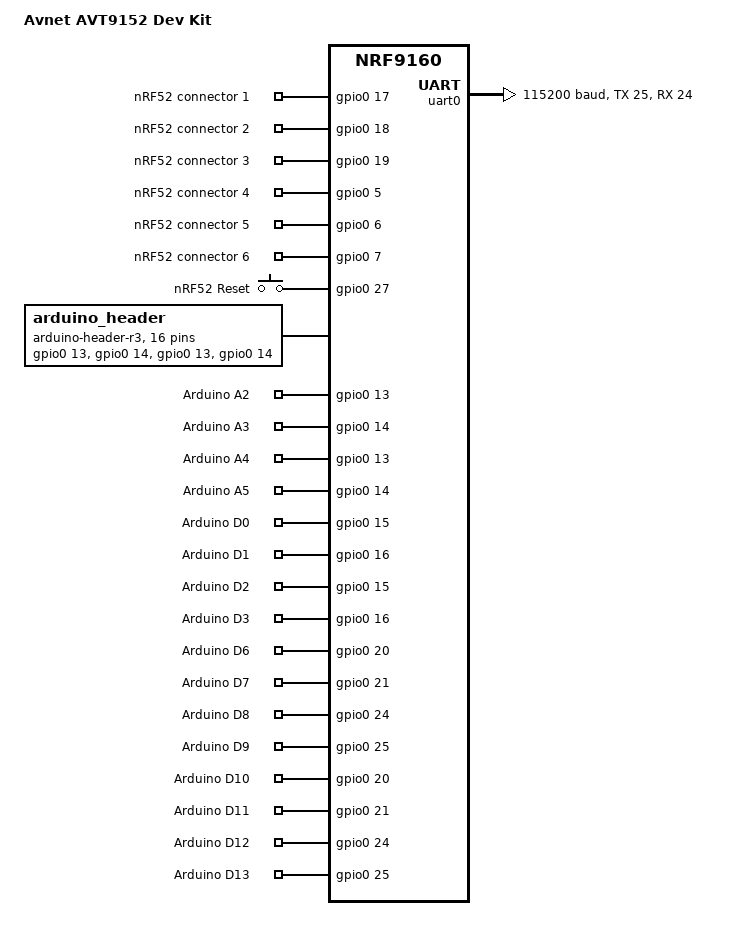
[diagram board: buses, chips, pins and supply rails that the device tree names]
/*
 * Copyright (c) 2018-2020 Nordic Semiconductor ASA
 *
 * SPDX-License-Identifier: Apache-2.0
 */

/ {
	model = "Avnet AVT9152 Dev Kit";
	compatible = "avnet,nrf9160-avt9152";

	chosen {
		zephyr,console = &uart0;
		zephyr,shell-uart = &uart0;
		zephyr,uart-mcumgr = &uart0;
	};
	
	inter_conns {
		compatible = "gpio-keys";
		inter_conn0: inter_conn_0  {
			gpios = <&gpio0 17 0>;
			label = "nRF52 connector 1";
		};
		inter_conn1: inter_conn_1 {
			gpios = <&gpio0 18 0>;
			label = "nRF52 connector 2";
		};
		inter_conn2: inter_conn_2 {
			gpios = <&gpio0 19 0>;
			label = "nRF52 connector 3";
		};
		inter_conn3: inter_conn_3 {
			gpios = <&gpio0 5 0>;
			label = "nRF52 connector 4";
		};
		inter_conn4: inter_conn_4 {
			gpios = <&gpio0 6 0>;
			label = "nRF52 connector 5";
		};
		inter_conn5: inter_conn_5 {
			gpios = <&gpio0 7 0>;
			label = "nRF52 connector 6";
		};
		inter_conn6: inter_conn_6 {
			gpios = <&gpio0 27 0>;
			label = "nRF52 Reset";
		};
		
	};

	arduino_header: connector {
		compatible = "arduino-header-r3";
		#gpio-cells = <2>;
		gpio-map-mask = <0xffffffff 0xffffffc0>;
		gpio-map-pass-thru = <0 0x3f>;
		gpio-map = <2 0 &gpio0 13 0>,	/* A2 */
			   <3 0 &gpio0 14 0>,	/* A3 */
			   <4 0 &gpio0 13 0>,	/* A4 */
			   <5 0 &gpio0 14 0>,	/* A5 */
			   <6 0 &gpio0 15 0>,	/* D0 */
			   <7 0 &gpio0 16 0>,	/* D1 */
			   <8 0 &gpio0 15 0>,	/* D2 */
			   <9 0 &gpio0 16 0>,	/* D3 */
			   <12 0 &gpio0 20 0>,	/* D6 */
			   <13 0 &gpio0 21 0>,	/* D7 */
			   <14 0 &gpio0 24 0>,	/* D8 */
			   <15 0 &gpio0 25 0>,	/* D9 */
			   <16 0 &gpio0 20 0>,	/* D10 */
			   <17 0 &gpio0 21 0>,	/* D11 */
			   <18 0 &gpio0 24 0>,	/* D12 */
			   <19 0 &gpio0 25 0>;	/* D13 */
	};

	arduino_pins {
		compatible = "gpio-keys";
		arduino_pin2: arduino_pin_2 {
			gpios = <&gpio0 13 0>;
			label = "Arduino A2";
		};
		arduino_pin3: arduino_pin_3 {
			gpios = <&gpio0 14 0>;
			label = "Arduino A3";
		};
		arduino_pin4: arduino_pin_4 {
			gpios = <&gpio0 13 0>;
			label = "Arduino A4";
		};
		arduino_pin5: arduino_pin_5 {
			gpios = <&gpio0 14 0>;
			label = "Arduino A5";
		};
		arduino_pin6: arduino_pin_6 {
			gpios = <&gpio0 15 0>;
			label = "Arduino D0";
		};
		arduino_pin7: arduino_pin_7 {
			gpios = <&gpio0 16 0>;
			label = "Arduino D1";
		};
		arduino_pin8: arduino_pin_8 {
			gpios = <&gpio0 15 0>;
			label = "Arduino D2";
		};
		arduino_pin9: arduino_pin_9 {
			gpios = <&gpio0 16 0>;
			label = "Arduino D3";
		};
		arduino_pin12: arduino_pin_12 {
			gpios = <&gpio0 20 0>;
			label = "Arduino D6";
		};
		arduino_pin13: arduino_pin_13 {
			gpios = <&gpio0 21 0>;
			label = "Arduino D7";
		};
		arduino_pin14: arduino_pin_14 {
			gpios = <&gpio0 24 0>;
			label = "Arduino D8";
		};
		arduino_pin15: arduino_pin_15 {
			gpios = <&gpio0 25 0>;
			label = "Arduino D9";
		};
		arduino_pin16: arduino_pin_16 {
			gpios = <&gpio0 20 0>;
			label = "Arduino D10";
		};
		arduino_pin17: arduino_pin_17 {
			gpios = <&gpio0 21 0>;
			label = "Arduino D11";
		};
		arduino_pin18: arduino_pin_18 {
			gpios = <&gpio0 24 0>;
			label = "Arduino D12";
		};
		arduino_pin19: arduino_pin_19 {
			gpios = <&gpio0 25 0>;
			label = "Arduino D13";
		};
	};

	/* These aliases are provided for compatibility with samples */
	aliases {

		interconn-c0 = &inter_conn0;
		interconn-c1 = &inter_conn1;
		interconn-c2 = &inter_conn2;
		interconn-c3 = &inter_conn3;
		interconn-c4 = &inter_conn4;
		interconn-c5 = &inter_conn5;

		nrf52-reset = &inter_conn6;

		ard-a2 = &arduino_pin2;
		ard-a3 = &arduino_pin3;
		ard-a4 = &arduino_pin4;
		ard-a5 = &arduino_pin5;
		ard-d0 = &arduino_pin6;
		ard-d1 = &arduino_pin7;
		ard-d2 = &arduino_pin8;
		ard-d3 = &arduino_pin9;
		ard-d6 = &arduino_pin12;
		ard-d7 = &arduino_pin13;
		ard-d8 = &arduino_pin14;
		ard-d9 = &arduino_pin15;
		ard-d10 = &arduino_pin16;
		ard-d11 = &arduino_pin17;
		ard-d12 = &arduino_pin18;
		ard-d13 = &arduino_pin19;

		debug-uart = &uart0;
		sens-i2c = &i2c3;
		
	};

};

&uart0 {
	compatible = "nordic,nrf-uarte";
	current-speed = <115200>;
	status = "okay";
	tx-pin = <25>;
	rx-pin = <24>;
};

&flash0 {
	/*
	 * For more information, see:
	 * https://docs.zephyrproject.org/latest/guides/dts/legacy-macros.html#legacy-flash-partitions
	 */
	partitions {
		compatible = "fixed-partitions";
		#address-cells = <1>;
		#size-cells = <1>;

		boot_partition: partition@0 {
			label = "mcuboot";
			reg = <0x00000000 0x10000>;
		};
		slot0_partition: partition@10000 {
			label = "image-0";
		};
		slot0_ns_partition: partition@50000 {
			label = "image-0-nonsecure";
		};
		slot1_partition: partition@80000 {
			label = "image-1";
		};
		slot1_ns_partition: partition@c0000 {
			label = "image-1-nonsecure";
		};
		scratch_partition: partition@f0000 {
			label = "image-scratch";
			reg = <0x000f0000 0xa000>;
		};
		storage_partition: partition@fa000 {
			label = "storage";
			reg = <0x000fa000 0x00006000>;
		};
	};
};

/ {

	reserved-memory {
		#address-cells = <1>;
		#size-cells = <1>;
		ranges;

		sram0_s: image_s@20000000 {
			/* Secure image memory */
		};

		sram0_bsd: image_bsd@20010000 {
			/* BSD (shared) memory */
		};

		sram0_ns: image_ns@20020000 {
			/* Non-Secure image memory */
		};
	};
};

/* Include partition configuration file */
#include "nrf9160_avt9152_partition_conf.dts"
